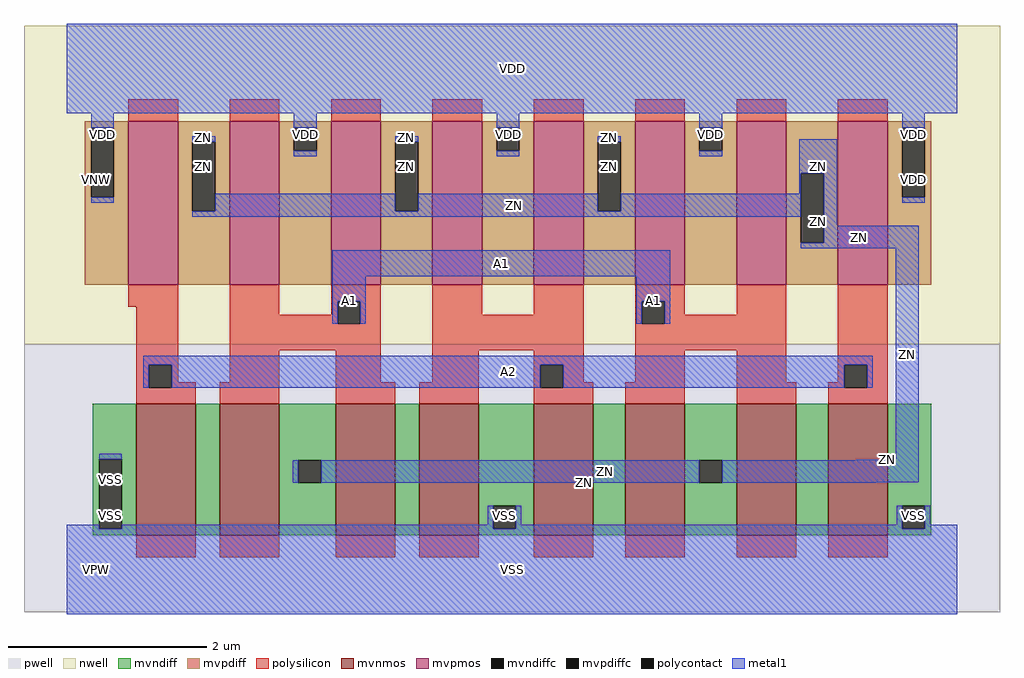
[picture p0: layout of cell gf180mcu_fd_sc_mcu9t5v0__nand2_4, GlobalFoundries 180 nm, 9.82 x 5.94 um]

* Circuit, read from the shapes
.subckt gf180mcu_fd_sc_mcu9t5v0__nand2_4 A1 A2 ZN VDD VNW VPW VSS
XM1 n1 A2 VSS VPW nfet_06v0 w=1.32u l=0.6u
XM2 ZN A1 n1 VPW nfet_06v0 w=1.32u l=0.6u
XM3 n2 A1 ZN VPW nfet_06v0 w=1.32u l=0.6u
XM4 VSS A2 n2 VPW nfet_06v0 w=1.32u l=0.6u
XM5 n3 A2 VSS VPW nfet_06v0 w=1.32u l=0.6u
XM6 ZN A1 n3 VPW nfet_06v0 w=1.32u l=0.6u
XM7 n4 A1 ZN VPW nfet_06v0 w=1.32u l=0.6u
XM8 VSS A2 n4 VPW nfet_06v0 w=1.32u l=0.6u
XM9 ZN A2 VDD VNW pfet_06v0 w=1.645u l=0.5u m=4
XM10 VDD A1 ZN VNW pfet_06v0 w=1.645u l=0.5u m=4
.ends

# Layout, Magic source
magic
tech gf180mcuD
magscale 1 10
<< nwell >>
rect -86 453 1878 1094
<< pwell >>
rect -86 -86 1878 453
<< mvnmos >>
rect 140 69 260 333
rect 308 69 428 333
rect 541 69 661 333
rect 709 69 829 333
rect 940 69 1060 333
rect 1124 69 1244 333
rect 1348 69 1468 333
rect 1532 69 1652 333
<< mvpmos >>
rect 124 573 224 902
rect 328 573 428 902
rect 532 573 632 902
rect 736 573 836 902
rect 940 573 1040 902
rect 1144 573 1244 902
rect 1348 573 1448 902
rect 1552 573 1652 902
<< mvndiff >>
rect 52 222 140 333
rect 52 82 65 222
rect 111 82 140 222
rect 52 69 140 82
rect 260 69 308 333
rect 428 220 541 333
rect 428 174 466 220
rect 512 174 541 220
rect 428 69 541 174
rect 661 69 709 333
rect 829 128 940 333
rect 829 82 858 128
rect 904 82 940 128
rect 829 69 940 82
rect 1060 69 1124 333
rect 1244 220 1348 333
rect 1244 174 1273 220
rect 1319 174 1348 220
rect 1244 69 1348 174
rect 1468 69 1532 333
rect 1652 128 1740 333
rect 1652 82 1681 128
rect 1727 82 1740 128
rect 1652 69 1740 82
<< mvpdiff >>
rect 36 889 124 902
rect 36 749 49 889
rect 95 749 124 889
rect 36 573 124 749
rect 224 861 328 902
rect 224 721 253 861
rect 299 721 328 861
rect 224 573 328 721
rect 428 889 532 902
rect 428 843 457 889
rect 503 843 532 889
rect 428 573 532 843
rect 632 861 736 902
rect 632 721 661 861
rect 707 721 736 861
rect 632 573 736 721
rect 836 889 940 902
rect 836 843 865 889
rect 911 843 940 889
rect 836 573 940 843
rect 1040 861 1144 902
rect 1040 721 1069 861
rect 1115 721 1144 861
rect 1040 573 1144 721
rect 1244 889 1348 902
rect 1244 843 1273 889
rect 1319 843 1348 889
rect 1244 573 1348 843
rect 1448 797 1552 902
rect 1448 657 1477 797
rect 1523 657 1552 797
rect 1448 573 1552 657
rect 1652 889 1740 902
rect 1652 749 1681 889
rect 1727 749 1740 889
rect 1652 573 1740 749
<< mvndiffc >>
rect 65 82 111 222
rect 466 174 512 220
rect 858 82 904 128
rect 1273 174 1319 220
rect 1681 82 1727 128
<< mvpdiffc >>
rect 49 749 95 889
rect 253 721 299 861
rect 457 843 503 889
rect 661 721 707 861
rect 865 843 911 889
rect 1069 721 1115 861
rect 1273 843 1319 889
rect 1477 657 1523 797
rect 1681 749 1727 889
<< polysilicon >>
rect 124 902 224 946
rect 328 902 428 946
rect 532 902 632 946
rect 736 902 836 946
rect 940 902 1040 946
rect 1144 902 1244 946
rect 1348 902 1448 946
rect 1552 902 1652 946
rect 124 529 224 573
rect 140 412 224 529
rect 140 366 165 412
rect 211 377 224 412
rect 328 513 428 573
rect 532 540 632 573
rect 532 513 545 540
rect 328 494 545 513
rect 591 494 632 540
rect 328 441 632 494
rect 328 377 428 441
rect 211 366 260 377
rect 140 333 260 366
rect 308 333 428 377
rect 541 377 632 441
rect 736 513 836 573
rect 940 513 1040 573
rect 736 441 1040 513
rect 736 377 829 441
rect 541 333 661 377
rect 709 333 829 377
rect 940 412 1040 441
rect 940 366 953 412
rect 999 377 1040 412
rect 1144 540 1244 573
rect 1144 494 1157 540
rect 1203 513 1244 540
rect 1348 513 1448 573
rect 1203 494 1448 513
rect 1144 441 1448 494
rect 1144 377 1244 441
rect 999 366 1060 377
rect 940 333 1060 366
rect 1124 333 1244 377
rect 1348 377 1448 441
rect 1552 412 1652 573
rect 1552 377 1565 412
rect 1348 333 1468 377
rect 1532 366 1565 377
rect 1611 366 1652 412
rect 1532 333 1652 366
rect 140 25 260 69
rect 308 25 428 69
rect 541 25 661 69
rect 709 25 829 69
rect 940 25 1060 69
rect 1124 25 1244 69
rect 1348 25 1468 69
rect 1532 25 1652 69
<< polycontact >>
rect 165 366 211 412
rect 545 494 591 540
rect 953 366 999 412
rect 1157 494 1203 540
rect 1565 366 1611 412
<< metal1 >>
rect 0 918 1792 1098
rect 49 889 95 918
rect 457 889 503 918
rect 49 738 95 749
rect 253 861 299 872
rect 865 889 911 918
rect 457 832 503 843
rect 661 861 707 872
rect 299 721 661 756
rect 1273 889 1319 918
rect 865 832 911 843
rect 1069 861 1115 872
rect 707 721 1069 756
rect 1681 889 1727 918
rect 1273 832 1319 843
rect 1474 797 1550 866
rect 1474 756 1477 797
rect 1115 721 1477 756
rect 253 710 1477 721
rect 1523 692 1550 797
rect 1681 738 1727 749
rect 1523 657 1714 692
rect 1477 646 1714 657
rect 534 590 1214 642
rect 534 540 602 590
rect 534 494 545 540
rect 591 494 602 540
rect 1146 540 1214 590
rect 1146 494 1157 540
rect 1203 494 1214 540
rect 154 412 1622 430
rect 154 366 165 412
rect 211 366 953 412
rect 999 366 1565 412
rect 1611 366 1622 412
rect 65 222 111 233
rect 0 82 65 90
rect 1668 221 1714 646
rect 1588 220 1714 221
rect 455 174 466 220
rect 512 174 1273 220
rect 1319 175 1714 220
rect 1319 174 1629 175
rect 847 90 858 128
rect 111 82 858 90
rect 904 90 915 128
rect 1670 90 1681 128
rect 904 82 1681 90
rect 1727 90 1738 128
rect 1727 82 1792 90
rect 0 -90 1792 82
<< labels >>
flabel metal1 s 534 590 1214 642 0 FreeSans 200 0 0 0 A1
port 1 nsew default input
flabel metal1 s 154 366 1622 430 0 FreeSans 200 0 0 0 A2
port 2 nsew default input
flabel metal1 s 0 918 1792 1098 0 FreeSans 200 0 0 0 VDD
port 4 nsew power bidirectional abutment
flabel metal1 s 65 128 111 233 0 FreeSans 200 0 0 0 VSS
port 7 nsew ground bidirectional abutment
flabel metal1 s 1069 866 1115 872 0 FreeSans 200 0 0 0 ZN
port 3 nsew default output
flabel nwell s 10 734 110 834 0 FreeSans 400 0 0 0 VNW
port 5 nsew power bidirectional
flabel pwell s 10 -50 110 50 0 FreeSans 400 0 0 0 VPW
port 6 nsew ground bidirectional
rlabel metal1 s 1146 494 1214 590 1 A1
port 1 nsew default input
rlabel metal1 s 534 494 602 590 1 A1
port 1 nsew default input
rlabel metal1 s 661 866 707 872 1 ZN
port 3 nsew default output
rlabel metal1 s 253 866 299 872 1 ZN
port 3 nsew default output
rlabel metal1 s 1474 756 1550 866 1 ZN
port 3 nsew default output
rlabel metal1 s 1069 756 1115 866 1 ZN
port 3 nsew default output
rlabel metal1 s 661 756 707 866 1 ZN
port 3 nsew default output
rlabel metal1 s 253 756 299 866 1 ZN
port 3 nsew default output
rlabel metal1 s 253 710 1550 756 1 ZN
port 3 nsew default output
rlabel metal1 s 1477 692 1550 710 1 ZN
port 3 nsew default output
rlabel metal1 s 1477 646 1714 692 1 ZN
port 3 nsew default output
rlabel metal1 s 1668 221 1714 646 1 ZN
port 3 nsew default output
rlabel metal1 s 1588 220 1714 221 1 ZN
port 3 nsew default output
rlabel metal1 s 455 175 1714 220 1 ZN
port 3 nsew default output
rlabel metal1 s 455 174 1629 175 1 ZN
port 3 nsew default output
rlabel metal1 s 1681 832 1727 918 1 VDD
port 4 nsew power bidirectional abutment
rlabel metal1 s 1273 832 1319 918 1 VDD
port 4 nsew power bidirectional abutment
rlabel metal1 s 865 832 911 918 1 VDD
port 4 nsew power bidirectional abutment
rlabel metal1 s 457 832 503 918 1 VDD
port 4 nsew power bidirectional abutment
rlabel metal1 s 49 832 95 918 1 VDD
port 4 nsew power bidirectional abutment
rlabel metal1 s 1681 738 1727 832 1 VDD
port 4 nsew power bidirectional abutment
rlabel metal1 s 49 738 95 832 1 VDD
port 4 nsew power bidirectional abutment
rlabel metal1 s 1670 90 1738 128 1 VSS
port 7 nsew ground bidirectional abutment
rlabel metal1 s 847 90 915 128 1 VSS
port 7 nsew ground bidirectional abutment
rlabel metal1 s 65 90 111 128 1 VSS
port 7 nsew ground bidirectional abutment
rlabel metal1 s 0 -90 1792 90 1 VSS
port 7 nsew ground bidirectional abutment
<< properties >>
string FIXED_BBOX 0 0 1792 1008
string GDS_END 44100
string GDS_FILE $PDKPATH/libs.ref/gf180mcu_fd_sc_mcu9t5v0/gds/gf180mcu_fd_sc_mcu9t5v0.gds
string GDS_START 39632
string LEFclass core
string LEFsite GF018hv5v_green_sc9
string LEFsymmetry X Y
<< end >>
